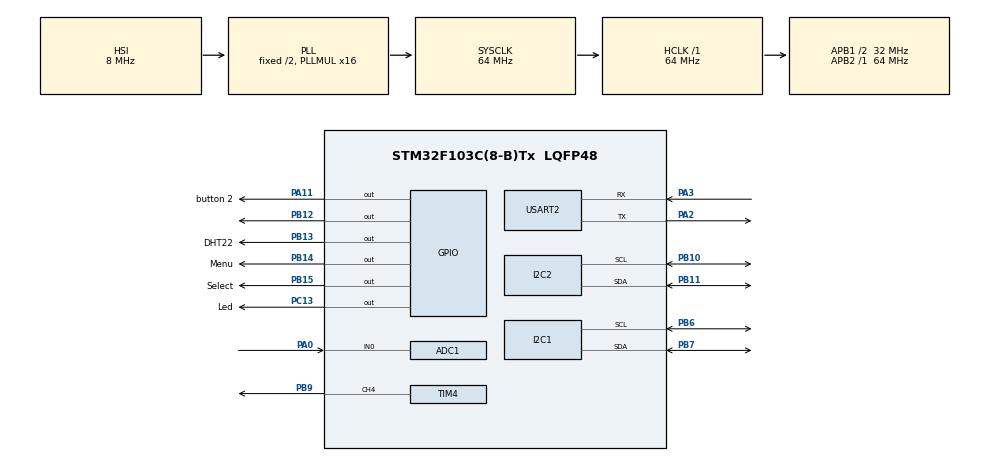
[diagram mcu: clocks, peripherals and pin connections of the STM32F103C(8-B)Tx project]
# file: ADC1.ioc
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ADC1.Channel-1\#ChannelRegularConversion=ADC_CHANNEL_0
ADC1.NbrOfConversionFlag=1
ADC1.Rank-1\#ChannelRegularConversion=1
ADC1.SamplingTime-1\#ChannelRegularConversion=ADC_SAMPLETIME_239CYCLES_5
ADC1.master=1
I2C1.I2C_Mode=I2C_Fast
Mcu.Family=STM32F1
Mcu.Name=STM32F103C(8-B)Tx
Mcu.Package=LQFP48
NVIC.PriorityGroup=NVIC_PRIORITYGROUP_4
PA0-WKUP.Signal=ADCx_IN0
PA11.GPIO_Label=button 2
PA11.GPIO_PuPd=GPIO_PULLUP
PA11.PinState=GPIO_PIN_SET
PA11.Signal=GPIO_Output
PA13.Mode=Serial_Wire
PA13.Signal=SYS_JTMS-SWDIO
PA14.Mode=Serial_Wire
PA14.Signal=SYS_JTCK-SWCLK
PA2.Mode=Asynchronous
PA2.Signal=USART2_TX
PA3.Mode=Asynchronous
PA3.Signal=USART2_RX
PB10.Mode=I2C
PB10.Signal=I2C2_SCL
PB11.Mode=I2C
PB11.Signal=I2C2_SDA
PB12.GPIO_PuPd=GPIO_PULLUP
PB12.PinState=GPIO_PIN_SET
PB12.Signal=GPIO_Output
PB13.GPIO_Label=DHT22
PB13.Signal=GPIO_Output
PB14.GPIO_Label=Menu
PB14.GPIO_PuPd=GPIO_PULLUP
PB14.PinState=GPIO_PIN_SET
PB14.Signal=GPIO_Output
PB15.GPIO_Label=Select
PB15.GPIO_PuPd=GPIO_PULLUP
PB15.PinState=GPIO_PIN_SET
PB15.Signal=GPIO_Output
PB6.Mode=I2C
PB6.Signal=I2C1_SCL
PB7.Mode=I2C
PB7.Signal=I2C1_SDA
PB9.Signal=S_TIM4_CH4
PC13-TAMPER-RTC.GPIO_Label=Led
PC13-TAMPER-RTC.Signal=GPIO_Output
ProjectManager.HeapSize=0x200
ProjectManager.StackSize=0x400
ProjectManager.TargetToolchain=MDK-ARM V5.27
RCC.ADCPresc=RCC_ADCPCLK2_DIV6
RCC.AHBFreq_Value=64000000
RCC.APB1CLKDivider=RCC_HCLK_DIV2
RCC.APB1Freq_Value=32000000
RCC.APB1TimFreq_Value=64000000
RCC.APB2Freq_Value=64000000
RCC.APB2TimFreq_Value=64000000
RCC.HCLKFreq_Value=64000000
RCC.PLLMUL=RCC_PLL_MUL16
RCC.SYSCLKFreq_VALUE=64000000
RCC.SYSCLKSource=RCC_SYSCLKSOURCE_PLLCLK
RCC.USBFreq_Value=64000000
SH.ADCx_IN0.0=ADC1_IN0,IN0
SH.S_TIM4_CH4.0=TIM4_CH4,Output Compare4 CH4
TIM4.Channel-Output\ Compare4\ CH4=TIM_CHANNEL_4
TIM4.Period=0xffff -1
TIM4.Prescaler=72-1
USART2.VirtualMode=VM_ASYNC
VP_TIM4_VS_ClockSourceINT.Mode=Internal
board=custom

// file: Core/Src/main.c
/* USER CODE BEGIN Header */
/**
  ******************************************************************************
  * @file           : main.c
  * @brief          : Main program body
  ******************************************************************************
  * @attention
  *
  * <h2><center>&copy; Copyright (c) 2022 STMicroelectronics.
  * All rights reserved.</center></h2>
  *
  * This software component is licensed by ST under BSD 3-Clause license,
  * the "License"; You may not use this file except in compliance with the
  * License. You may obtain a copy of the License at:
  *                        opensource.org/licenses/BSD-3-Clause
  *
  ******************************************************************************
  */
/* USER CODE END Header */
#include "main.h"

/* USER CODE BEGIN Includes */
#include "ssd1306.h"
#include "fonts.h"
#include "test.h"
#include "math.h"
#include "Button.h"
#include "RTC.h"
#include "DHT.h"
#include "display.h"
#include "flash.h"
#include "MathExtern.h"
#include "delay_timer.h"
#include "UART.h"

#define ADDRESS_DATA_STORAGE 0x800FC00
#define NUM_PPM_VALUES 12
/* USER CODE END Includes */

ADC_HandleTypeDef hadc1;

I2C_HandleTypeDef hi2c1;
I2C_HandleTypeDef hi2c2;

TIM_HandleTypeDef htim4;

UART_HandleTypeDef huart2;

/* USER CODE BEGIN PV */
float Ro = 14.2;
float Rs;
float RL = 1;
double ppm ;
float Flashback;
float Settime;
float SP;
DHT_HandleTypeDef DHT11 ;
uint8_t gas_change = 1;
uint8_t display_se = 3;
uint8_t menu = 0;
float ppmArray[NUM_PPM_VALUES];

/* USER CODE END PV */

void SystemClock_Config(void);
static void MX_GPIO_Init(void);
static void MX_ADC1_Init(void);
static void MX_I2C1_Init(void);
static void MX_TIM4_Init(void);
static void MX_I2C2_Init(void);
static void MX_USART2_UART_Init(void);

/* USER CODE BEGIN 0 */
Button_Typdef button1;
Button_Typdef button2;
Button_Typdef button3;
Button_Typdef button4;
uint16_t adc1;
uint32_t timecurrent;
RTC_Typedef hrtc1;
//uint8_t * numberToString(uint16_t val){
//	if (val == 0) return (uint8_t *)"0";
//
//	static uint8_t buf[32] = {0};
//
//	int i = 30;
//
//	for(; val && i ; --i, val /= 10)
//
//		buf[i] = "0123456789abcdef"[val % 10];
//
//	return &buf[i+1];
//}

void updatePPM(float newPPMValue) {
    for (int i = NUM_PPM_VALUES - 1; i > 0; i--) {
        ppmArray[i] = ppmArray[i - 1];
    }
    ppmArray[0] = newPPMValue;
}
void savePPMArrayToFlash() {
    flash_Erase(ADDRESS_DATA_STORAGE);
    flash_Write_Array(ADDRESS_DATA_STORAGE, (uint8_t*)ppmArray, NUM_PPM_VALUES * sizeof(float));
}
void readAndDisplayPPMArrayFromFlash() {

    flash_Read_Array(ADDRESS_DATA_STORAGE, (uint8_t*)ppmArray, NUM_PPM_VALUES * sizeof(float));
		SSD1306_Fill(SSD1306_COLOR_BLACK);
		SSD1306_GotoXY (1, 20);
	for (int i = 0; i < 4; i++) {
    SSD1306_Puts((char *)numberToString(ppmArray[i]), &Font_7x10, SSD1306_COLOR_WHITE);
		SSD1306_Puts (" ", &Font_7x10, 1);  }
	 SSD1306_GotoXY (1, 30);
	for (int i = 4 ; i < 8; i++) {
    SSD1306_Puts((char *)numberToString(ppmArray[i]), &Font_7x10, SSD1306_COLOR_WHITE);
		SSD1306_Puts (" ", &Font_7x10, 1);  }
	SSD1306_GotoXY (1, 40);
	for (int i = 8 ; i < 12; i++) {
    SSD1306_Puts((char *)numberToString(ppmArray[i]), &Font_7x10, SSD1306_COLOR_WHITE);
		SSD1306_Puts (" ", &Font_7x10, 1);  }
}
void getmeasured(){
HAL_ADC_Start(&hadc1);
		HAL_ADC_PollForConversion(&hadc1, 1000);
		adc1 = HAL_ADC_GetValue(&hadc1);
		HAL_ADC_Stop(&hadc1);
    Rs = (5*RL/(adc1*3.3/4095))-RL;

   const float slopeLPG = -0.745;
   const float scaleLPG = 17.66;
//	 const float slopeLPG = -0.69;
//   const float scaleLPG = 11.62;
	 const float slopeCH4 = -0.569;
   const float scaleCH4 = 8.23;
	 if (gas_change == 0)
		  {
				ppm = pow(Rs / (Ro * scaleLPG), 1 / slopeLPG);
			}
   else if (gas_change == 1)  {
		 ppm = pow(Rs / (Ro * scaleCH4), 1 / slopeCH4);
	      }
		DHT_ReadTempHum(&DHT11);//doc nhiet do, do am
}
void	btn_pressing_callback(Button_Typdef *ButtonX) {
if(ButtonX == &button3) {
	display_se = 2;
	if (display_se == 2&&ButtonX == &button3 ){
      menu ++;
 menu = menu % 3;	}
}
if(ButtonX == &button4) {
	if (display_se == 2&&menu ==1){
      display_se = 3;
	if (ButtonX == &button4){
	//SSD1306_ScrollRight(1, 3);
	}
 }
}

}
void btn_press_short_callback(Button_Typdef *ButtonX)
{
	if(ButtonX == &button1)
	{
		display_se = 0;
		getmeasured();
		updatePPM(ppm);
		transmitInterval();
		savePPMArrayToFlash();
		HAL_Delay(10);
	}
	if(ButtonX == &button2)
	{
		gas_change = (gas_change == 0) ? 1 : 0;
	}
	if(ButtonX == &button3)
	{

	}

}
void btn_press_timeout_callback(Button_Typdef *ButtonX)
{

	if(ButtonX == &button1)
	{ display_se = 1;
		// say somthing

	}
	if(ButtonX == &button2)
		{
    display_se = 4;
//		menu = 0;
		}
//	if(ButtonX == &button3)
//		{
//    display_se = 2;
//		menu = 0;
//		}
}
/* USER CODE END 0 */

int main(void)
{
  /* USER CODE BEGIN 1 */
	RTC_Init(&hrtc1,&hi2c2);
  /* USER CODE END 1 */

  /* MCU Configuration--------------------------------------------------------*/

  /* Reset of all peripherals, Initializes the Flash interface and the Systick. */
  HAL_Init();

  /* Configure the system clock */
  SystemClock_Config();

  /* Initialize all configured peripherals */
  MX_GPIO_Init();
  MX_ADC1_Init();
  MX_I2C1_Init();
  MX_TIM4_Init();
  MX_I2C2_Init();
  MX_USART2_UART_Init();
  /* USER CODE BEGIN 2 */
  DHT_Init(&DHT11, &htim4, GPIOB, GPIO_PIN_13);
	button_init(&button1,GPIOB,GPIO_PIN_12);
	button_init(&button2,GPIOA,GPIO_PIN_11);
	button_init(&button3,GPIOB,GPIO_PIN_14);
	button_init(&button4,GPIOB,GPIO_PIN_15);
	HAL_ADCEx_Calibration_Start(&hadc1);
	SSD1306_Init (); // initialize the display
//  HAL_Delay(200);

  /* USER CODE END 2 */

  /* Infinite loop */
  while (1)
  {

    /* USER CODE BEGIN 3 */
	  button_handle(&button1);
		button_handle(&button2);
		button_handle(&button3);
		button_handle(&button4);
		RTC_ReadTime(&hrtc1,&hrtc1.date_time);
		if((ppm > 1000) && (HAL_GetTick() - timecurrent >= 1000))
    { HAL_GPIO_TogglePin(GPIOC, GPIO_PIN_13);
	    timecurrent = HAL_GetTick();
			getmeasured();
		}
		else if ((display_se == 4)&& (HAL_GetTick() - timecurrent >= 1000) ) {
			getmeasured();
			timecurrent = HAL_GetTick();
		}
//		if (display_se == 0 && gas_change == 0){
//		SSD1306_GotoXY (1, 50);
//		SSD1306_Fill(SSD1306_COLOR_BLACK);
//		SSD1306_Puts((char *)numberToString(hrtc1.date_time.hour), &Font_7x10, SSD1306_COLOR_WHITE);
//		SSD1306_Puts (":", &Font_7x10, 1);
//		SSD1306_Puts((char *)numberToString(hrtc1.date_time.min), &Font_7x10, SSD1306_COLOR_WHITE);
//		SSD1306_Puts (":", &Font_7x10, 1);
//		SSD1306_Puts((char *)numberToString(hrtc1.date_time.second), &Font_7x10, SSD1306_COLOR_WHITE);
//		SSD1306_GotoXY (1,1);
//		SSD1306_Puts ("LPG:", &Font_7x10, 1);
//		SSD1306_Puts((char *)numberToString(ppm), &Font_11x18, SSD1306_COLOR_WHITE);
//    SSD1306_Puts ("ppm", &Font_7x10, 1);
//	//	readAndDisplayPPMArrayFromFlash();
//
//  	SSD1306_UpdateScreen(); // update screen
//		}
//		else if (display_se == 0&&gas_change == 1)
//    {
//		SSD1306_GotoXY (1, 50);
//		SSD1306_Fill(SSD1306_COLOR_BLACK);
//		SSD1306_Puts((char *)numberToString(hrtc1.date_time.hour), &Font_7x10, SSD1306_COLOR_WHITE);
//		SSD1306_Puts (":", &Font_7x10, 1); // print Hello
//		SSD1306_Puts((char *)numberToString(hrtc1.date_time.min), &Font_7x10, SSD1306_COLOR_WHITE);
//		SSD1306_Puts (":", &Font_7x10, 1); // print Hello
//		SSD1306_Puts((char *)numberToString(hrtc1.date_time.second), &Font_7x10, SSD1306_COLOR_WHITE);
//		SSD1306_GotoXY (1,1); // goto 10, 10
//		SSD1306_Puts ("concent_LPG:", &Font_7x10, 1);
//		SSD1306_Puts((char *)numberToString(ppm), &Font_7x10, SSD1306_COLOR_WHITE);
//    SSD1306_Puts ("ppm", &Font_7x10, 1);
//		SSD1306_UpdateScreen();	// update screen
//		}
//		else if (display_se == 1)
//    {
//		SSD1306_Fill(SSD1306_COLOR_BLACK);
//		Ro = 5*RL/(adc1*3.3/4095)-RL;
//		SSD1306_GotoXY (1,1); // goto 10, 10
//    SSD1306_Puts ("da hieu chinh thiet bi", &Font_7x10, 1); // print Hello
//		SSD1306_Puts ("Ro = ", &Font_7x10, 1); // print Hello
//    SSD1306_Puts((char *)numberToString(Ro), &Font_7x10, SSD1306_COLOR_WHITE);
////		HAL_Delay(100);
////		//SSD1306_Puts ("WORLD !!", &Font_7x10, 1);
//    SSD1306_UpdateScreen(); // update screen
//		}
   display();

	}
  /* USER CODE END 3 */
}

void SystemClock_Config(void)
{
  RCC_OscInitTypeDef RCC_OscInitStruct = {0};
  RCC_ClkInitTypeDef RCC_ClkInitStruct = {0};
  RCC_PeriphCLKInitTypeDef PeriphClkInit = {0};

  /** Initializes the RCC Oscillators according to the specified parameters
  * in the RCC_OscInitTypeDef structure.
  */
  RCC_OscInitStruct.OscillatorType = RCC_OSCILLATORTYPE_HSI;
  RCC_OscInitStruct.HSIState = RCC_HSI_ON;
  RCC_OscInitStruct.HSICalibrationValue = RCC_HSICALIBRATION_DEFAULT;
  RCC_OscInitStruct.PLL.PLLState = RCC_PLL_ON;
  RCC_OscInitStruct.PLL.PLLSource = RCC_PLLSOURCE_HSI_DIV2;
  RCC_OscInitStruct.PLL.PLLMUL = RCC_PLL_MUL16;
  if (HAL_RCC_OscConfig(&RCC_OscInitStruct) != HAL_OK)
  {
    Error_Handler();
  }
  /** Initializes the CPU, AHB and APB buses clocks
  */
  RCC_ClkInitStruct.ClockType = RCC_CLOCKTYPE_HCLK|RCC_CLOCKTYPE_SYSCLK
                              |RCC_CLOCKTYPE_PCLK1|RCC_CLOCKTYPE_PCLK2;
  RCC_ClkInitStruct.SYSCLKSource = RCC_SYSCLKSOURCE_PLLCLK;
  RCC_ClkInitStruct.AHBCLKDivider = RCC_SYSCLK_DIV1;
  RCC_ClkInitStruct.APB1CLKDivider = RCC_HCLK_DIV2;
  RCC_ClkInitStruct.APB2CLKDivider = RCC_HCLK_DIV1;

  if (HAL_RCC_ClockConfig(&RCC_ClkInitStruct, FLASH_LATENCY_2) != HAL_OK)
  {
    Error_Handler();
  }
  PeriphClkInit.PeriphClockSelection = RCC_PERIPHCLK_ADC;
  PeriphClkInit.AdcClockSelection = RCC_ADCPCLK2_DIV6;
  if (HAL_RCCEx_PeriphCLKConfig(&PeriphClkInit) != HAL_OK)
  {
    Error_Handler();
  }
}

static void MX_ADC1_Init(void)
{

  ADC_ChannelConfTypeDef sConfig = {0};

  /** Common config
  */
  hadc1.Instance = ADC1;
  hadc1.Init.ScanConvMode = ADC_SCAN_DISABLE;
  hadc1.Init.ContinuousConvMode = DISABLE;
  hadc1.Init.DiscontinuousConvMode = DISABLE;
  hadc1.Init.ExternalTrigConv = ADC_SOFTWARE_START;
  hadc1.Init.DataAlign = ADC_DATAALIGN_RIGHT;
  hadc1.Init.NbrOfConversion = 1;
  if (HAL_ADC_Init(&hadc1) != HAL_OK)
  {
    Error_Handler();
  }
  /** Configure Regular Channel
  */
  sConfig.Channel = ADC_CHANNEL_0;
  sConfig.Rank = ADC_REGULAR_RANK_1;
  sConfig.SamplingTime = ADC_SAMPLETIME_239CYCLES_5;
  if (HAL_ADC_ConfigChannel(&hadc1, &sConfig) != HAL_OK)
  {
    Error_Handler();
  }

}

static void MX_I2C1_Init(void)
{

  hi2c1.Instance = I2C1;
  hi2c1.Init.ClockSpeed = 400000;
  hi2c1.Init.DutyCycle = I2C_DUTYCYCLE_2;
  hi2c1.Init.OwnAddress1 = 0;
  hi2c1.Init.AddressingMode = I2C_ADDRESSINGMODE_7BIT;
  hi2c1.Init.DualAddressMode = I2C_DUALADDRESS_DISABLE;
  hi2c1.Init.OwnAddress2 = 0;
  hi2c1.Init.GeneralCallMode = I2C_GENERALCALL_DISABLE;
  hi2c1.Init.NoStretchMode = I2C_NOSTRETCH_DISABLE;
  if (HAL_I2C_Init(&hi2c1) != HAL_OK)
  {
    Error_Handler();
  }

}

static void MX_I2C2_Init(void)
{

  hi2c2.Instance = I2C2;
  hi2c2.Init.ClockSpeed = 100000;
  hi2c2.Init.DutyCycle = I2C_DUTYCYCLE_2;
  hi2c2.Init.OwnAddress1 = 0;
  hi2c2.Init.AddressingMode = I2C_ADDRESSINGMODE_7BIT;
  hi2c2.Init.DualAddressMode = I2C_DUALADDRESS_DISABLE;
  hi2c2.Init.OwnAddress2 = 0;
  hi2c2.Init.GeneralCallMode = I2C_GENERALCALL_DISABLE;
  hi2c2.Init.NoStretchMode = I2C_NOSTRETCH_DISABLE;
  if (HAL_I2C_Init(&hi2c2) != HAL_OK)
  {
    Error_Handler();
  }

}

static void MX_TIM4_Init(void)
{

  TIM_ClockConfigTypeDef sClockSourceConfig = {0};
  TIM_MasterConfigTypeDef sMasterConfig = {0};
  TIM_OC_InitTypeDef sConfigOC = {0};

  htim4.Instance = TIM4;
  htim4.Init.Prescaler = 72-1;
  htim4.Init.CounterMode = TIM_COUNTERMODE_UP;
  htim4.Init.Period = 0xffff -1;
  htim4.Init.ClockDivision = TIM_CLOCKDIVISION_DIV1;
  htim4.Init.AutoReloadPreload = TIM_AUTORELOAD_PRELOAD_DISABLE;
  if (HAL_TIM_Base_Init(&htim4) != HAL_OK)
  {
    Error_Handler();
  }
  sClockSourceConfig.ClockSource = TIM_CLOCKSOURCE_INTERNAL;
  if (HAL_TIM_ConfigClockSource(&htim4, &sClockSourceConfig) != HAL_OK)
  {
    Error_Handler();
  }
  if (HAL_TIM_OC_Init(&htim4) != HAL_OK)
  {
    Error_Handler();
  }
  sMasterConfig.MasterOutputTrigger = TIM_TRGO_RESET;
  sMasterConfig.MasterSlaveMode = TIM_MASTERSLAVEMODE_DISABLE;
  if (HAL_TIMEx_MasterConfigSynchronization(&htim4, &sMasterConfig) != HAL_OK)
  {
    Error_Handler();
  }
  sConfigOC.OCMode = TIM_OCMODE_TIMING;
  sConfigOC.Pulse = 0;
  sConfigOC.OCPolarity = TIM_OCPOLARITY_HIGH;
  sConfigOC.OCFastMode = TIM_OCFAST_DISABLE;
  if (HAL_TIM_OC_ConfigChannel(&htim4, &sConfigOC, TIM_CHANNEL_4) != HAL_OK)
  {
    Error_Handler();
  }
  HAL_TIM_MspPostInit(&htim4);

}

static void MX_USART2_UART_Init(void)
{

  huart2.Instance = USART2;
  huart2.Init.BaudRate = 115200;
  huart2.Init.WordLength = UART_WORDLENGTH_8B;
  huart2.Init.StopBits = UART_STOPBITS_1;
  huart2.Init.Parity = UART_PARITY_NONE;
  huart2.Init.Mode = UART_MODE_TX_RX;
  huart2.Init.HwFlowCtl = UART_HWCONTROL_NONE;
  huart2.Init.OverSampling = UART_OVERSAMPLING_16;
  if (HAL_UART_Init(&huart2) != HAL_OK)
  {
    Error_Handler();
  }

}

static void MX_GPIO_Init(void)
{
  GPIO_InitTypeDef GPIO_InitStruct = {0};

  /* GPIO Ports Clock Enable */
  __HAL_RCC_GPIOC_CLK_ENABLE();
  __HAL_RCC_GPIOA_CLK_ENABLE();
  __HAL_RCC_GPIOB_CLK_ENABLE();

  /*Configure GPIO pin Output Level */
  HAL_GPIO_WritePin(Led_GPIO_Port, Led_Pin, GPIO_PIN_RESET);

  /*Configure GPIO pin Output Level */
  HAL_GPIO_WritePin(GPIOB, GPIO_PIN_12|Menu_Pin|Select_Pin, GPIO_PIN_SET);

  /*Configure GPIO pin Output Level */
  HAL_GPIO_WritePin(DHT22_GPIO_Port, DHT22_Pin, GPIO_PIN_RESET);

  /*Configure GPIO pin Output Level */
  HAL_GPIO_WritePin(button_2_GPIO_Port, button_2_Pin, GPIO_PIN_SET);

  /*Configure GPIO pin : Led_Pin */
  GPIO_InitStruct.Pin = Led_Pin;
  GPIO_InitStruct.Mode = GPIO_MODE_OUTPUT_PP;
  GPIO_InitStruct.Pull = GPIO_NOPULL;
  GPIO_InitStruct.Speed = GPIO_SPEED_FREQ_LOW;
  HAL_GPIO_Init(Led_GPIO_Port, &GPIO_InitStruct);

  /*Configure GPIO pins : PB12 Menu_Pin Select_Pin */
  GPIO_InitStruct.Pin = GPIO_PIN_12|Menu_Pin|Select_Pin;
  GPIO_InitStruct.Mode = GPIO_MODE_OUTPUT_PP;
  GPIO_InitStruct.Pull = GPIO_PULLUP;
  GPIO_InitStruct.Speed = GPIO_SPEED_FREQ_LOW;
  HAL_GPIO_Init(GPIOB, &GPIO_InitStruct);

  /*Configure GPIO pin : DHT22_Pin */
  GPIO_InitStruct.Pin = DHT22_Pin;
  GPIO_InitStruct.Mode = GPIO_MODE_OUTPUT_PP;
  GPIO_InitStruct.Pull = GPIO_NOPULL;
  GPIO_InitStruct.Speed = GPIO_SPEED_FREQ_LOW;
  HAL_GPIO_Init(DHT22_GPIO_Port, &GPIO_InitStruct);

  /*Configure GPIO pin : button_2_Pin */
  GPIO_InitStruct.Pin = button_2_Pin;
  GPIO_InitStruct.Mode = GPIO_MODE_OUTPUT_PP;
  GPIO_InitStruct.Pull = GPIO_PULLUP;
  GPIO_InitStruct.Speed = GPIO_SPEED_FREQ_LOW;
  HAL_GPIO_Init(button_2_GPIO_Port, &GPIO_InitStruct);

}

void Error_Handler(void)
{
}

/************************ (C) COPYRIGHT STMicroelectronics *****END OF FILE****/
